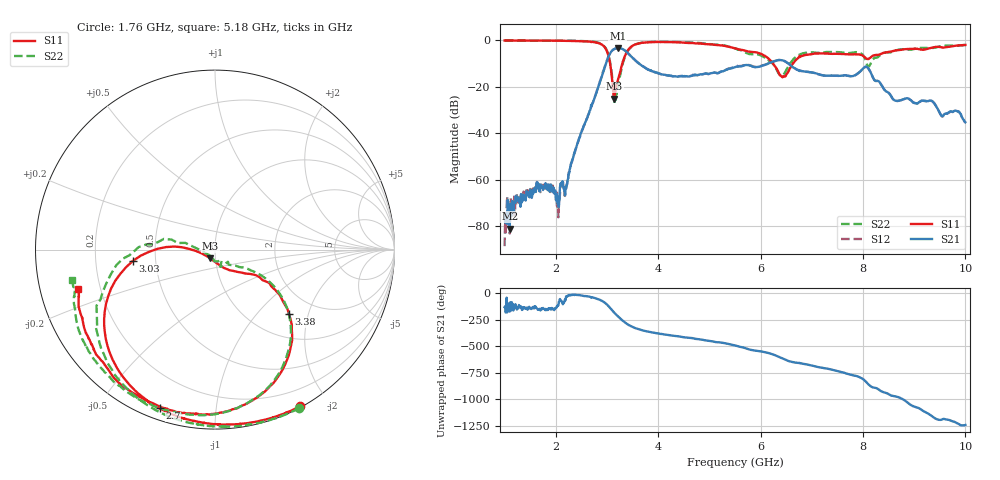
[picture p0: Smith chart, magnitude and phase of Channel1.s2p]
!Agilent Technologies,N5227A,US51270477,A.10.00.00
!File generated by LCAF-GAM-UPV software
!josevmart@iteam.upv.es
!S2P File: Measurements: S11, S21, S12, S22:
# Hz S  dB  R 50
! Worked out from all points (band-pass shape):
!   901 points, 1 GHz to 10 GHz, reference 50 ohm
!   highest |S21| = -3.31 dB at 3.21 GHz (marker M1); lowest = -81.1 dB at 1.1 GHz (marker M2)
!   |S21| within 3 dB of the highest: 3.043 GHz to 3.445 GHz (402.1 MHz wide, 12.4 % of centre)
!   lowest |S11| = -25.1 dB at 3.14 GHz (marker M3), VSWR 1.12, Z = 47.2 - j4.63 ohm
!   |S11| at or under -10 dB: 3.061 GHz to 3.3 GHz (239.4 MHz wide, 7.53 % of centre); 6.244 GHz to 6.626 GHz (381.6 MHz wide, 5.93 % of centre)
!   |S22| runs from -27.3 to 0.0 dB; largest |S21 - S12| = 0.05
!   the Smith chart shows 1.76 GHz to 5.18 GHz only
!   S11 on the Smith chart (normalised r, x): 1.76 GHz: 0.01, -1.68; 2.7 GHz: 0.05, -0.71; 3.03 GHz: 0.37, -0.06; 3.38 GHz: 1.48, -1.51; 5.18 GHz: 0.12, -0.14
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1e9  -0.01 -34.4  -75.41 -132.4  -88.68 161.1  0.01 -34.5
1.1e9  -0.02 -37.6  -81.08 -173.7  -83.22 29.9  0.01 -38.0
1.76e9  -0.06 -61.4  -63.73 -146.0  -63.64 -145.5  0.00 -62.0
2.04e9  -0.10 -72.3  -70.54 -112.9  -68.13 -98.1  -0.02 -72.9
2.5e9  -0.32 -95.6  -39.44 -22.2  -39.69 -20.7  -0.18 -95.6
2.7e9  -0.57 -109.2  -28.33 -37.5  -28.22 -37.4  -0.43 -110.8
2.92e9  -2.10 -140.8  -14.07 -78.0  -13.49 -83.0  -2.04 -147.4
3.03e9  -6.73 -172.2  -6.95 -122.7  -6.82 -125.2  -6.42 -176.2
3.14e9  -25.08 -118.6  -3.72 177.0  -3.70 175.3  -25.08 -158.1
3.21e9  -17.14 -55.3  -3.31 143.5  -3.31 140.9  -20.07 -43.2
3.38e9  -5.24 -41.1  -4.87 73.5  -4.84 73.7  -5.53 -39.9
3.63e9  -1.20 -77.2  -10.04 18.0  -10.01 18.3  -1.19 -77.7
4e9  -0.65 -105.0  -14.08 -20.7  -14.19 -20.0  -0.60 -106.1
5.18e9  -2.03 -163.9  -13.94 -102.9  -13.99 -103.3  -1.77 -167.8
5.5e9  -3.43 178.2  -11.53 -133.0  -11.40 -135.3  -3.41 170.3
6.11e9  -7.03 142.2  -10.31 160.7  -10.28 159.7  -7.58 141.9
6.44e9  -15.57 160.3  -8.63 102.1  -8.61 101.9  -14.93 169.0
7e9  -5.82 139.3  -13.81 37.9  -13.78 38.2  -5.12 133.2
7.49e9  -5.74 80.4  -15.23 -13.1  -15.24 -12.2  -4.99 80.8
8.07e9  -7.90 20.1  -11.31 -120.7  -11.37 -120.3  -9.83 4.6
8.5e9  -4.95 0.3  -22.52 128.9  -22.53 129.7  -5.20 5.6
1e10  -1.94 -79.9  -35.25 -162.2  -35.39 -160.5  -1.91 -91.7
